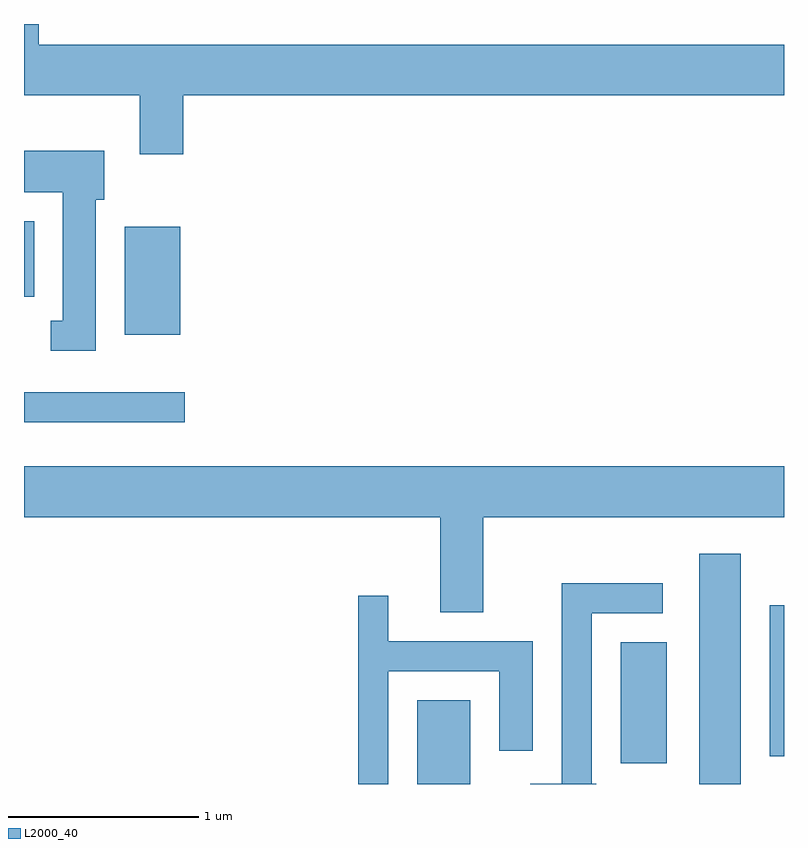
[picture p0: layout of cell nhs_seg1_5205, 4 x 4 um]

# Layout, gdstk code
import gdstk
lib = gdstk.Library(unit=1e-6, precision=1e-09)
def R(c, l, rs):  # rectangles x0, y0, x1, y1
    for r in rs: c.add(gdstk.rectangle(r[:2], r[2:], *l))
def P(c, l, *ps):  # polygons
    for p in ps: c.add(gdstk.Polygon(p, *l))
L2000_40 = (2000, 40)

nhs_seg1_5205 = lib.new_cell('nhs_seg1_5205')
R(nhs_seg1_5205, L2000_40, [(343.681,913.712,343.959,914.154), (345.166,913.712,345.384,914.924), (344.751,913.821,344.994,914.459), (345.536,913.858,345.611,914.654), (341.611,915.616,342.458,915.774), (342.141,916.076,342.434,916.644), (341.611,916.276,341.664,916.674)])
P(nhs_seg1_5205, L2000_40, [(342.449,917.336),(345.611,917.336),(345.611,917.604),(341.689,917.604),(341.689,917.712),(341.611,917.712),(341.611,917.336),(342.221,917.336),(342.221,917.026),(342.449,917.026)],
  [(341.989,916.786),(342.034,916.786),(342.034,917.044),(341.611,917.044),(341.611,916.826),(341.816,916.826),(341.816,916.149),(341.753,916.149),(341.753,915.991),(341.989,915.991)],
  [(344.029,915.116),(345.611,915.116),(345.611,915.384),(341.611,915.384),(341.611,915.116),(343.801,915.116),(343.801,914.616),(344.029,914.616)],
  [(344.624,913.714),(344.599,913.714),(344.599,914.611),(344.973,914.611),(344.973,914.769),(344.441,914.769),(344.441,913.714),(344.276,913.714),(344.276,913.712),(344.624,913.712)],
  [(343.529,914.306),(344.111,914.306),(344.111,913.886),(344.289,913.886),(344.289,914.464),(343.529,914.464),(343.529,914.703),(343.371,914.703),(343.371,913.712),(343.529,913.712)])

lib.write_gds('nhs_seg1_5205.gds')
